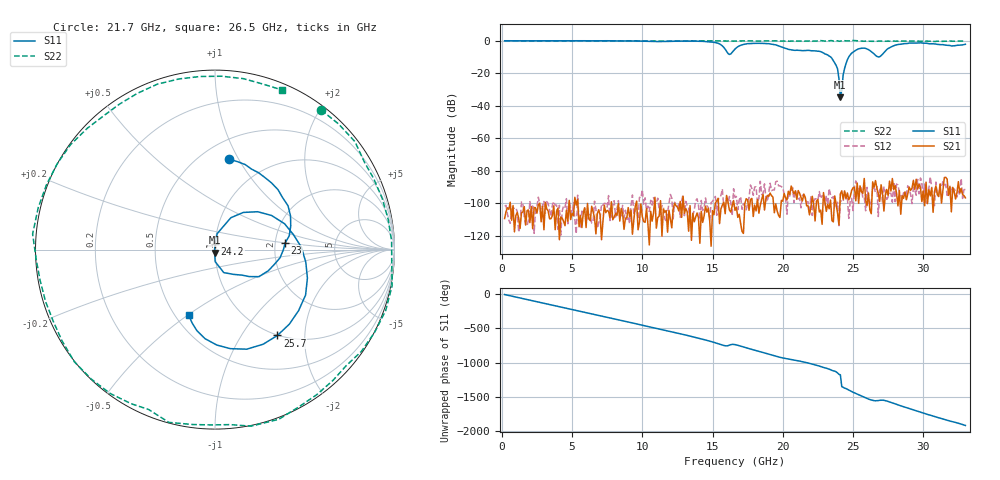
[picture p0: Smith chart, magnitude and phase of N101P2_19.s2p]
# GHZ S RI R 50
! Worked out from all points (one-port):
!   329 points, 200 MHz to 33 GHz, reference 50 ohm
!   lowest |S11| = -34.9 dB at 24.1 GHz (marker M1), VSWR 1.04, Z = 49.8 - j1.79 ohm
!   |S11| at or under -10 dB: 23.41 GHz to 24.7 GHz (1.287 GHz wide, 5.35 % of centre)
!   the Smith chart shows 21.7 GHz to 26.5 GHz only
!   S11 on the Smith chart (normalised r, x): 21.7 GHz: 0.67, +0.91; 23 GHz: 2.27, +0.20; 24.2 GHz: 1.00, +0.06; 25.7 GHz: 0.99, -1.46; 26.5 GHz: 0.58, -0.50
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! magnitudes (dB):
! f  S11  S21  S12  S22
! 200 MHz  0.0  -109.3  -101.8  0.0
! 5.7 GHz  0.0  -114.9  -104.7  0.0
! 11.2 GHz  -0.5  -107.9  -103.6  -0.2
! 15.2 GHz  -1.1  -100.0  -95.8  -0.1
! 16.2 GHz  -8.5  -104.1  -95.8  -0.2
! 16.6 GHz  -5.1  -104.3  -96.4  -0.2
! 18.5 GHz  -1.6  -97.5  -94.7  -0.1
! 21.7 GHz  -5.9  -101.5  -99.2  -0.2
! 22.1 GHz  -6.2  -95.7  -107.4  -0.3
! 23 GHz  -8.1  -99.3  -101.1  -0.2
! 23.5 GHz  -10.8  -110.6  -96.7  0.0
! 23.9 GHz  -17.2  -105.9  -99.3  0.0
! 24 GHz  -23.5  -113.3  -113.8  -0.3
! 24.1 GHz  -34.9  -94.1  -99.0  -0.2
! 24.2 GHz  -30.3  -92.3  -98.0  -0.1
! 24.3 GHz  -21.0  -97.5  -98.7  0.0
! 24.7 GHz  -9.9  -97.8  -109.3  -0.1
! 25.7 GHz  -4.6  -93.8  -96.5  -0.3
! 26.5 GHz  -8.1  -90.1  -90.8  -0.3
! 26.9 GHz  -9.8  -98.9  -91.8  -0.2
! 27.6 GHz  -4.3  -86.4  -93.9  -0.3
! 33 GHz  -2.2  -96.6  -91.5  -0.3
